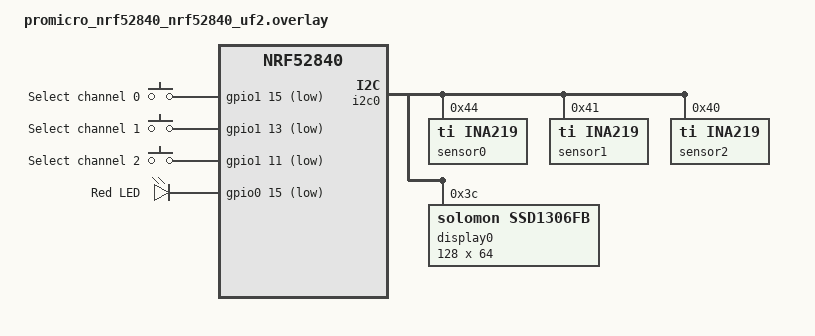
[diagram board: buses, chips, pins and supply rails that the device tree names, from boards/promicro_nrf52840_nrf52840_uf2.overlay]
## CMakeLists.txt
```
# MIT License
#
# Copyright (c) 2025 G2Labs Grzegorz Grzęda
#
# Permission is hereby granted, free of charge, to any person obtaining a copy
# of this software and associated documentation files (the "Software"), to deal
# in the Software without restriction, including without limitation the rights
# to use, copy, modify, merge, publish, distribute, sublicense, and/or sell
# copies of the Software, and to permit persons to whom the Software is
# furnished to do so, subject to the following conditions:
#
# The above copyright notice and this permission notice shall be included in all
# copies or substantial portions of the Software.
#
# THE SOFTWARE IS PROVIDED "AS IS", WITHOUT WARRANTY OF ANY KIND, EXPRESS OR
# IMPLIED, INCLUDING BUT NOT LIMITED TO THE WARRANTIES OF MERCHANTABILITY,
# FITNESS FOR A PARTICULAR PURPOSE AND NONINFRINGEMENT. IN NO EVENT SHALL THE
# AUTHORS OR COPYRIGHT HOLDERS BE LIABLE FOR ANY CLAIM, DAMAGES OR OTHER
# LIABILITY, WHETHER IN AN ACTION OF CONTRACT, TORT OR OTHERWISE, ARISING FROM,
# OUT OF OR IN CONNECTION WITH THE SOFTWARE OR THE USE OR OTHER DEALINGS IN THE
# SOFTWARE.
#
cmake_minimum_required(VERSION 3.30.0)

find_package(Zephyr REQUIRED HINTS $ENV{ZEPHYR_BASE})
project(usb-pd-psu)

target_sources(app PRIVATE main.c)
```

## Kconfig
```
menu "USB Power Delivery PSU"

rsource "src/Kconfig"

endmenu 

source "Kconfig.zephyr"
```

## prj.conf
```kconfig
CONFIG_MAIN_STACK_SIZE=4096
CONFIG_SYSTEM_WORKQUEUE_STACK_SIZE=2048

CONFIG_LOG=y

CONFIG_NVS=y

CONFIG_GPIO=y
CONFIG_GPIO_SHELL=y

CONFIG_SHELL=y
CONFIG_SHELL_BACKEND_SERIAL=y
CONFIG_SHELL_LOG_BACKEND=y
CONFIG_SHELL_PROMPT_UART="usb-pd-psu> "

CONFIG_I2C=y
CONFIG_I2C_SHELL=y
CONFIG_I2C_LOG_LEVEL_DBG=y

CONFIG_REBOOT=y

CONFIG_SENSOR=y
CONFIG_SENSOR_SHELL=y

CONFIG_DISPLAY=y

CONFIG_LVGL=y
CONFIG_LV_FONT_MONTSERRAT_12=y
CONFIG_LV_FONT_MONTSERRAT_14=y
CONFIG_LV_FONT_DEFAULT_MONTSERRAT_12=y
CONFIG_LV_Z_MEM_POOL_SIZE=16384
CONFIG_LV_Z_SHELL=y
CONFIG_LV_Z_VDB_SIZE=100
CONFIG_LV_COLOR_DEPTH_1=y

CONFIG_NETWORKING=y
CONFIG_NET_SHELL=y
CONFIG_NET_IPV6=y
CONFIG_NET_UDP=y
CONFIG_NET_L2_OPENTHREAD=y

CONFIG_OPENTHREAD=y
CONFIG_OPENTHREAD_SHELL=y
CONFIG_OPENTHREAD_COAP=y

CONFIG_OPENTHREAD_JOINER=y
CONFIG_OPENTHREAD_COAP=y
```

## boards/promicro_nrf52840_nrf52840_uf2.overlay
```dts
/ {
	aliases {
		led0 = &led0;
	};
	
	chosen {
		zephyr,display = &display0;
	};
	
	buttons {
		compatible = "gpio-keys";
		button0:button0	 {
			label = "Select channel 0";
			gpios = <&gpio1 15 (GPIO_PULL_UP | GPIO_ACTIVE_LOW)>;
		};
		button1:button1 {
			label = "Select channel 1";
			gpios = <&gpio1 13 (GPIO_PULL_UP | GPIO_ACTIVE_LOW)>;
		};
		button2:button2 {
			label = "Select channel 2";
			gpios = <&gpio1 11 (GPIO_PULL_UP | GPIO_ACTIVE_LOW)>;
		};
	};
	
	leds {
		compatible = "gpio-leds";
		led0: led_0 {
			gpios = <&gpio0 15 GPIO_ACTIVE_LOW>;
			label = "Red LED";
		};
	};
};

&i2c0{
	status = "okay";
	
	sensor0:ina219@44 {
		status = "okay";
		compatible = "ti,ina219";
		reg = <0x44>;
		brng = <0>;
		pg = <0>;
		sadc = <13>;
		badc = <13>;
		shunt-milliohm = <100>;
		lsb-microamp = <10>;
	};
	
	sensor1:ina219@41 {
		status = "okay";
		compatible = "ti,ina219";
		reg = <0x41>;
		brng = <0>;
		pg = <0>;
		sadc = <13>;
		badc = <13>;
		shunt-milliohm = <100>;
		lsb-microamp = <10>;
	};
	
	sensor2:ina219@40 {
		status = "okay";
		compatible = "ti,ina219";
		reg = <0x40>;
		brng = <0>;
		pg = <0>;
		sadc = <13>;
		badc = <13>;
		shunt-milliohm = <100>;
		lsb-microamp = <10>;
	};
	
	display0: ssd1306@3c {
		compatible = "solomon,ssd1306fb";
		reg = <0x3c>;
		width = <128>;
		height = <64>;
		segment-offset = <0>;
		page-offset = <0>;
		display-offset = <0>;
		multiplex-ratio = <63>;
		segment-remap;
		com-invdir;
		inversion-on;
		prechargep = <0x22>;
	};
};
```

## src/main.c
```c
/*
 * MIT License
 *
 * Copyright (c) 2025 G2Labs Grzegorz Grzęda
 *
 * Permission is hereby granted, free of charge, to any person obtaining a copy
 * of this software and associated documentation files (the "Software"), to deal
 * in the Software without restriction, including without limitation the rights
 * to use, copy, modify, merge, publish, distribute, sublicense, and/or sell
 * copies of the Software, and to permit persons to whom the Software is
 * furnished to do so, subject to the following conditions:
 *
 * The above copyright notice and this permission notice shall be included in all
 * copies or substantial portions of the Software.
 *
 * THE SOFTWARE IS PROVIDED "AS IS", WITHOUT WARRANTY OF ANY KIND, EXPRESS OR
 * IMPLIED, INCLUDING BUT NOT LIMITED TO THE WARRANTIES OF MERCHANTABILITY,
 * FITNESS FOR A PARTICULAR PURPOSE AND NONINFRINGEMENT. IN NO EVENT SHALL THE
 * AUTHORS OR COPYRIGHT HOLDERS BE LIABLE FOR ANY CLAIM, DAMAGES OR OTHER
 * LIABILITY, WHETHER IN AN ACTION OF CONTRACT, TORT OR OTHERWISE, ARISING FROM,
 * OUT OF OR IN CONNECTION WITH THE SOFTWARE OR THE USE OR OTHER DEALINGS IN THE
 * SOFTWARE.
 */
//----------------------------------------------------------------------------------------------------------------------
#include <autoconf.h>
#include <lvgl.h>
#include <stdio.h>
#include <stdlib.h>
#include <zephyr/drivers/display.h>
#include <zephyr/kernel.h>
#include <zephyr/logging/log.h>
#include "buttons.h"
#include "measurement.h"
#include "ui.h"
//----------------------------------------------------------------------------------------------------------------------
LOG_MODULE_REGISTER(main, LOG_LEVEL_INF);
//----------------------------------------------------------------------------------------------------------------------
static measurement_channel_t* sensor_channels = NULL;
static ui_measurement_t* ui_measurements = NULL;
static size_t sensor_channel_count = 0;
//----------------------------------------------------------------------------------------------------------------------
static void buttons_activated_callback(int button_index, void* userdata) {
    ui_update_button_pressed(button_index);
}
//----------------------------------------------------------------------------------------------------------------------
static void measurement_callback(const measurement_channel_t* const channels, size_t channel_count, void* userdata) {
    if (channel_count != sensor_channel_count) {
        LOG_ERR("Channel count mismatch: expected %zu, got %zu", sensor_channel_count, channel_count);
        return;
    }
    for (size_t i = 0; i < channel_count; i++) {
        ui_measurements[i].voltage = channels[i].voltage;
        ui_measurements[i].current = channels[i].current;
        ui_measurements[i].ok = channels[i].ok;
        ui_update_measurements(ui_measurements, channel_count);
    }
}
//----------------------------------------------------------------------------------------------------------------------
int main(void) {
    LOG_INF("Starting USB-PD PSU application");

    int err = measurement_init(measurement_callback, NULL);
    if (err) {
        LOG_ERR("Failed to initialize measurements: %d", err);
        return err;
    }

    sensor_channel_count = measurement_get_channel_count();
    if (sensor_channel_count == 0) {
        LOG_ERR("No measurement channels defined");
        return -1;
    }
    sensor_channels = calloc(sensor_channel_count, sizeof(measurement_channel_t));
    if (!sensor_channels) {
        LOG_ERR("Failed to allocate memory for sensor channels");
        return -ENOMEM;
    }
    ui_measurements = calloc(sensor_channel_count, sizeof(ui_measurement_t));
    if (!ui_measurements) {
        LOG_ERR("Failed to allocate memory for UI measurements");
        free(sensor_channels);
        return -ENOMEM;
    }

    ui_config_t ui_config = {
        .measurement_channel_count = sensor_channel_count,
    };

    err = ui_init(ui_config);
    if (err) {
        LOG_ERR("Failed to initialize UI: %d", err);
        return err;
    }

    err = buttons_init(buttons_activated_callback, NULL);
    if (err) {
        LOG_ERR("Failed to initialize buttons: %d", err);
    }

    while (1) {
        measurement_perform();
        ui_loop();

        k_sleep(K_MSEC(CONFIG_USB_PD_PSU_MAIN_LOOP_DELAY_MS));
    }

    return 0;
}
//----------------------------------------------------------------------------------------------------------------------
```

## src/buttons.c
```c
/*
 * MIT License
 *
 * Copyright (c) 2025 G2Labs Grzegorz Grzęda
 *
 * Permission is hereby granted, free of charge, to any person obtaining a copy
 * of this software and associated documentation files (the "Software"), to deal
 * in the Software without restriction, including without limitation the rights
 * to use, copy, modify, merge, publish, distribute, sublicense, and/or sell
 * copies of the Software, and to permit persons to whom the Software is
 * furnished to do so, subject to the following conditions:
 *
 * The above copyright notice and this permission notice shall be included in all
 * copies or substantial portions of the Software.
 *
 * THE SOFTWARE IS PROVIDED "AS IS", WITHOUT WARRANTY OF ANY KIND, EXPRESS OR
 * IMPLIED, INCLUDING BUT NOT LIMITED TO THE WARRANTIES OF MERCHANTABILITY,
 * FITNESS FOR A PARTICULAR PURPOSE AND NONINFRINGEMENT. IN NO EVENT SHALL THE
 * AUTHORS OR COPYRIGHT HOLDERS BE LIABLE FOR ANY CLAIM, DAMAGES OR OTHER
 * LIABILITY, WHETHER IN AN ACTION OF CONTRACT, TORT OR OTHERWISE, ARISING FROM,
 * OUT OF OR IN CONNECTION WITH THE SOFTWARE OR THE USE OR OTHER DEALINGS IN THE
 * SOFTWARE.
 */
//----------------------------------------------------------------------------------------------------------------------
#include "buttons.h"
#include <stddef.h>
#include <stdlib.h>
#include <zephyr/drivers/gpio.h>
#include <zephyr/kernel.h>
#include <zephyr/logging/log.h>
//----------------------------------------------------------------------------------------------------------------------
typedef struct {
    const struct gpio_dt_spec spec;
    struct gpio_callback cb;
} button_t;
//----------------------------------------------------------------------------------------------------------------------
LOG_MODULE_REGISTER(buttons, LOG_LEVEL_INF);
//----------------------------------------------------------------------------------------------------------------------
#define BUTTON0_NODE DT_NODELABEL(button0)
#define BUTTON1_NODE DT_NODELABEL(button1)
#define BUTTON2_NODE DT_NODELABEL(button2)
//----------------------------------------------------------------------------------------------------------------------
static button_t buttons[] = {
    {GPIO_DT_SPEC_GET_OR(BUTTON0_NODE, gpios, {0}), {}},
    {GPIO_DT_SPEC_GET_OR(BUTTON1_NODE, gpios, {0}), {}},
    {GPIO_DT_SPEC_GET_OR(BUTTON2_NODE, gpios, {0}), {}},
};
static const size_t buttons_count = ARRAY_SIZE(buttons);
//----------------------------------------------------------------------------------------------------------------------
static buttons_activate_callback_t buttons_activate_callback = NULL;
static void* buttons_userdata = NULL;
//----------------------------------------------------------------------------------------------------------------------
static void button_handler(const struct device* dev, struct gpio_callback* cb, uint32_t pins) {
    int button_index = -1;
    for (size_t i = 0; i < buttons_count; i++) {
        if (dev == buttons[i].spec.port && (pins & BIT(buttons[i].spec.pin))) {
            button_index = i;
            break;
        }
    }

    if (button_index < 0 || button_index >= buttons_count) {
        return;
    }

    if (!buttons_activate_callback) {
        return;
    }
    buttons_activate_callback(button_index, buttons_userdata);
}
//----------------------------------------------------------------------------------------------------------------------
int buttons_init(buttons_activate_callback_t callback, void* userdata) {
    if (!callback) {
        LOG_ERR("Callback cannot be NULL");
        return -EINVAL;
    }
    buttons_activate_callback = callback;
    buttons_userdata = userdata;

    for (size_t i = 0; i < buttons_count; i++) {
        if (!gpio_is_ready_dt(&buttons[i].spec)) {
            LOG_ERR("Button GPIO %zu not ready", i);
            return -ENODEV;
        }
        if (gpio_pin_configure_dt(&buttons[i].spec, GPIO_INPUT | GPIO_PULL_UP) < 0) {
            LOG_ERR("Failed to configure button GPIO %zu", i);
            return -EIO;
        }
        if (gpio_pin_interrupt_configure_dt(&buttons[i].spec, GPIO_INT_EDGE_TO_ACTIVE) < 0) {
            LOG_ERR("Failed to configure button interrupt %zu", i);
            return -EIO;
        }
        gpio_init_callback(&buttons[i].cb, button_handler, BIT(buttons[i].spec.pin));
        if (gpio_add_callback(buttons[i].spec.port, &buttons[i].cb) < 0) {
            LOG_ERR("Failed to add button callback %zu", i);
            return -EIO;
        }
    }
    return 0;
}
//----------------------------------------------------------------------------------------------------------------------
int buttons_get_count(void) {
    return buttons_count;
}
//----------------------------------------------------------------------------------------------------------------------
```

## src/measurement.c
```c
/*
 * MIT License
 *
 * Copyright (c) 2025 G2Labs Grzegorz Grzęda
 *
 * Permission is hereby granted, free of charge, to any person obtaining a copy
 * of this software and associated documentation files (the "Software"), to deal
 * in the Software without restriction, including without limitation the rights
 * to use, copy, modify, merge, publish, distribute, sublicense, and/or sell
 * copies of the Software, and to permit persons to whom the Software is
 * furnished to do so, subject to the following conditions:
 *
 * The above copyright notice and this permission notice shall be included in all
 * copies or substantial portions of the Software.
 *
 * THE SOFTWARE IS PROVIDED "AS IS", WITHOUT WARRANTY OF ANY KIND, EXPRESS OR
 * IMPLIED, INCLUDING BUT NOT LIMITED TO THE WARRANTIES OF MERCHANTABILITY,
 * FITNESS FOR A PARTICULAR PURPOSE AND NONINFRINGEMENT. IN NO EVENT SHALL THE
 * AUTHORS OR COPYRIGHT HOLDERS BE LIABLE FOR ANY CLAIM, DAMAGES OR OTHER
 * LIABILITY, WHETHER IN AN ACTION OF CONTRACT, TORT OR OTHERWISE, ARISING FROM,
 * OUT OF OR IN CONNECTION WITH THE SOFTWARE OR THE USE OR OTHER DEALINGS IN THE
 * SOFTWARE.
 */
//----------------------------------------------------------------------------------------------------------------------
#include "measurement.h"
#include <stddef.h>
#include <stdlib.h>
#include <zephyr/drivers/sensor.h>
#include <zephyr/kernel.h>
#include <zephyr/logging/log.h>
//----------------------------------------------------------------------------------------------------------------------
LOG_MODULE_REGISTER(measurement, LOG_LEVEL_INF);
//----------------------------------------------------------------------------------------------------------------------
static const struct device* const sensors[] = {
    DEVICE_DT_GET(DT_NODELABEL(sensor0)),
    DEVICE_DT_GET(DT_NODELABEL(sensor1)),
    DEVICE_DT_GET(DT_NODELABEL(sensor2)),
};
//----------------------------------------------------------------------------------------------------------------------
#define MEASUREMENT_CHANNEL_COUNT (ARRAY_SIZE(sensors))
//----------------------------------------------------------------------------------------------------------------------
static measurement_channel_t* channels = NULL;
static measurement_callback_t measurement_callback = NULL;
static void* measurement_userdata = NULL;
//----------------------------------------------------------------------------------------------------------------------
void measurement_perform(void) {
    for (size_t i = 0; i < MEASUREMENT_CHANNEL_COUNT; i++) {
        if (!device_is_ready(sensors[i])) {
            LOG_ERR("Sensor %s is not ready", sensors[i]->name);
            channels[i].ok = false;
            continue;
        }
        if (sensor_sample_fetch(sensors[i]) < 0) {
            LOG_ERR("Failed to fetch sample from %s", sensors[i]->name);
            channels[i].ok = false;
            continue;
        }

        struct sensor_value voltage, current, power;
        if (sensor_channel_get(sensors[i], SENSOR_CHAN_VOLTAGE, &voltage) < 0 ||
            sensor_channel_get(sensors[i], SENSOR_CHAN_CURRENT, &current) < 0 ||
            sensor_channel_get(sensors[i], SENSOR_CHAN_POWER, &power) < 0) {
            LOG_ERR("Failed to get channel data from %s", sensors[i]->name);
            channels[i].ok = false;
            continue;
        }
        channels[i].voltage = sensor_value_to_double(&voltage);
        channels[i].current = sensor_value_to_double(&current);
        channels[i].power = sensor_value_to_double(&power);
        channels[i].ok = true;
    }
    if (!measurement_callback) {
        return;
    }
    measurement_callback((const measurement_channel_t* const)channels, MEASUREMENT_CHANNEL_COUNT, measurement_userdata);
}
//----------------------------------------------------------------------------------------------------------------------
int measurement_init(measurement_callback_t callback, void* userdata) {
    if (MEASUREMENT_CHANNEL_COUNT == 0) {
        LOG_ERR("No measurement channels defined");
        return -1;
    }

    if (!callback) {
        LOG_ERR("Measurement callback cannot be NULL");
        return -1;
    }

    bool all_ready = true;
    for (size_t i = 0; i < MEASUREMENT_CHANNEL_COUNT; i++) {
        if (!device_is_ready(sensors[i])) {
            LOG_ERR("Sensor %s is not ready", sensors[i]->name);
            all_ready = false;
        }
    }
    if (!all_ready) {
        LOG_ERR("Not all sensors are ready, cannot initialize measurements");
        return -1;
    }

    channels = calloc(MEASUREMENT_CHANNEL_COUNT, sizeof(measurement_channel_t));
    if (!channels) {
        LOG_ERR("Failed to allocate memory for measurement channels");
        return -1;
    }

    measurement_callback = callback;
    measurement_userdata = userdata;

    return 0;
}
//----------------------------------------------------------------------------------------------------------------------
size_t measurement_get_channel_count(void) {
    return MEASUREMENT_CHANNEL_COUNT;
}
//----------------------------------------------------------------------------------------------------------------------
```
